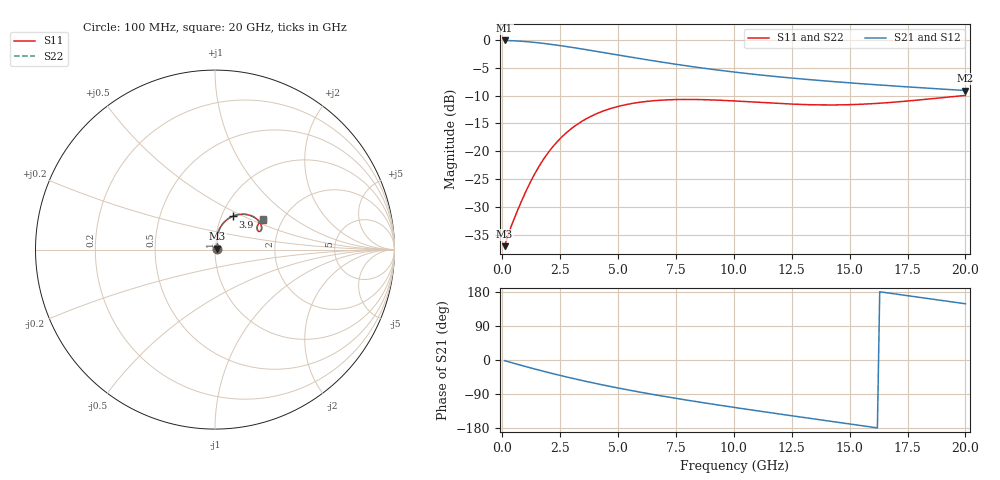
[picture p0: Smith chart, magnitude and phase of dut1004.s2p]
! Touchstone file exported from HFSS 2024.1.0
!  File:  C:/UserFiles/LocalFiles/RDL_TSV_Batchsim/temp_RDL_TSV_1004_1780077216.aedt
!  Generated:  02:09:27 AM May 30, 2026
!  Design:  RDL_TSV
!  Project:  temp_RDL_TSV_1004_1780077216
!  Setup:  Setup1
!  Solution:  Sweep
! Variables:
!  dtsv = 7.69um
!  hbump = 3um
!  htsv = 59.89um
!  ldown = 640.47um
!  lrdl = 342.07um
!  p = 40
!  p1 = 52.08um
!  rhole = 10um
!  subl = 3289.69um
!  t = 450um
!  tdown = 3.67um
!  trdl = 4.9um
!  viad = 10um
!  wdown = 25.73um
!  wrdl = 20.22um
!  xbump = 18um
# GHz S MA R 50.000000
! Terminal data exported
! Port[1] = TM1_1_T1
! Port[2] = TM1_4_T1
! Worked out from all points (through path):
!   200 points, 100 MHz to 20 GHz, reference 50 ohm
!   highest |S21| = -0.12 dB at 100 MHz (marker M1); lowest = -9.1 dB at 20 GHz (marker M2)
!   group delay of S21, straight-line fit = 27.8 ps
!   lowest |S11| = -37.0 dB at 100 MHz (marker M3), VSWR 1.03, Z = 51.3 + j0.478 ohm
!   |S11| at or under -10 dB: start of sweep to 19.94 GHz
!   |S22| runs from -37.0 to -9.9 dB; largest |S21 - S12| = 3e-12
!   S11 on the Smith chart (normalised r, x): 100 MHz: 1.03, +0.01; 3.9 GHz: 1.13, +0.44; 20 GHz: 1.60, +0.59
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0.1  0.01409 19.3  0.9864 -1.8  0.9864 -1.8  0.01408 19.3
! Gamma 0 0 0 0
! Port Impedance 50 0 50 0
0.4  0.02166 48.2  0.9816 -7.0  0.9816 -7.0  0.02165 48.2
0.9  0.03852 70.7  0.968 -15.5  0.968 -15.5  0.03853 70.8
1.3  0.05741 78.1  0.9521 -22.1  0.9521 -22.1  0.05747 78.2
1.7  0.07996 80.0  0.9326 -28.5  0.9326 -28.5  0.08009 80.2
2.1  0.1046 78.9  0.9105 -34.7  0.9105 -34.7  0.1048 79.0
2.5  0.1299 76.1  0.8867 -40.7  0.8867 -40.7  0.1302 76.2
3  0.1607 71.5  0.8556 -47.9  0.8556 -47.9  0.1611 71.6
3.5  0.1891 66.3  0.8238 -54.8  0.8238 -54.8  0.1896 66.4
3.9  0.2093 62.1  0.7984 -60.2  0.7984 -60.2  0.2099 62.2
4.5  0.2351 56.0  0.761 -67.8  0.761 -67.8  0.2358 56.1
5.2  0.2583 49.4  0.7192 -76.3  0.7192 -76.3  0.2591 49.5
6  0.2764 42.8  0.6749 -85.4  0.6749 -85.4  0.2772 42.9
6.8  0.2868 37.1  0.6347 -94.0  0.6347 -94.0  0.2876 37.2
8.4  0.2912 28.6  0.5669 -110.0  0.5669 -110.0  0.2921 28.7
10.1  0.2822 23.5  0.5111 -125.9  0.5111 -125.9  0.283 23.6
11.7  0.2701 22.1  0.4706 -140.2  0.4706 -140.2  0.2708 22.2
13.4  0.2613 23.5  0.4368 -155.0  0.4368 -155.0  0.262 23.6
15  0.2619 26.4  0.411 -168.8  0.411 -168.8  0.2626 26.6
16.7  0.2735 29.7  0.3879 176.6  0.3879 176.6  0.2743 29.9
18.3  0.2927 31.5  0.3689 162.9  0.3689 162.9  0.2936 31.7
20  0.317 31.6  0.3508 148.4  0.3508 148.4  0.3183 31.9
